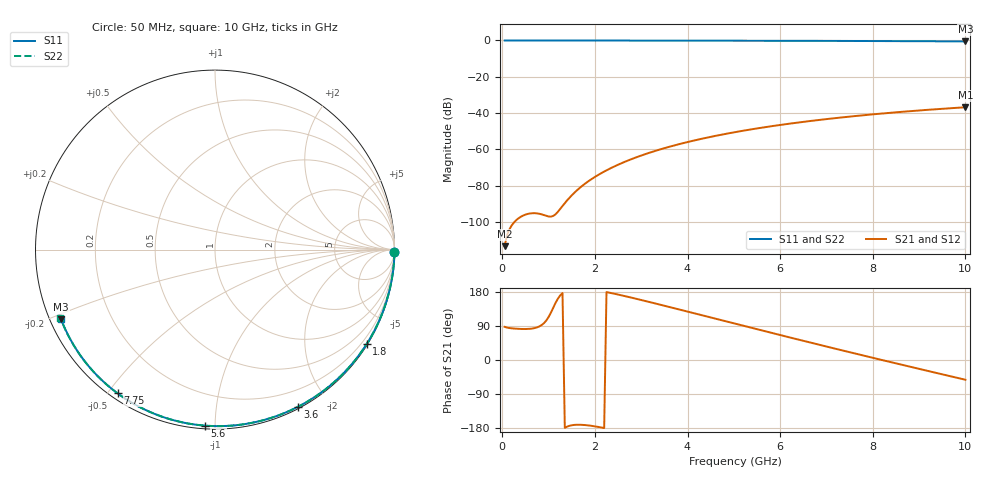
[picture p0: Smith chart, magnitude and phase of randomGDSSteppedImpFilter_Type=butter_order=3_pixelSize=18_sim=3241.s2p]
! freq	dB(S11)	phase(S11)	dB(S12)	phase(S12)
!  dB(S21)	phase(S21)	dB(S22)	phase(S22)
!S-par simulation data
#  GHz  S  DB  R 50
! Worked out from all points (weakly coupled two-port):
!   200 points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, 50 MHz to 10 GHz, reference 50 ohm
!   highest |S21| = -36.80 dB at 10 GHz (marker M1); lowest = -113.3 dB at 50 MHz (marker M2)
!   lowest |S11| = -0.5 dB at 10 GHz (marker M3), VSWR 33.12, Z = 1.58 - j10.8 ohm
!   |S11| at or under -10 dB: nowhere
!   |S22| runs from -0.5 to 0.0 dB; largest |S21 - S12| = 0
!   S11 on the Smith chart (normalised r, x): 50 MHz: open; 1.8 GHz: 0.03, -3.50; 3.6 GHz: 0.02, -1.66; 5.6 GHz: 0.02, -0.95; 7.75 GHz: 0.02, -0.53; 10 GHz: 0.03, -0.22
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0.05  -0.00 -0.9  -113.28 87.5  -113.28 87.5  -0.00 -0.9
0.45  -0.01 -8.1  -96.42 81.8  -96.42 81.8  -0.01 -8.1
0.9  -0.02 -16.1  -96.17 97.3  -96.17 97.3  -0.02 -16.2
1.7  -0.04 -30.2  -80.59 -170.9  -80.59 -170.9  -0.04 -30.3
1.75  -0.04 -31.1  -79.57 -171.3  -79.57 -171.3  -0.04 -31.2
1.8  -0.04 -31.9  -78.61 -171.8  -78.61 -171.8  -0.04 -32.0
1.95  -0.04 -34.5  -75.96 -174.1  -75.96 -174.1  -0.04 -34.7
2.1  -0.05 -37.1  -73.62 -177.2  -73.62 -177.2  -0.05 -37.2
2.3  -0.05 -40.5  -70.86 178.0  -70.86 178.0  -0.05 -40.7
2.5  -0.06 -43.9  -68.43 172.7  -68.43 172.7  -0.06 -44.1
2.9  -0.07 -50.7  -64.28 161.3  -64.28 161.3  -0.07 -50.8
3.4  -0.08 -58.9  -60.06 146.3  -60.06 146.3  -0.08 -59.1
3.6  -0.08 -62.2  -58.59 140.1  -58.59 140.1  -0.08 -62.4
4.3  -0.10 -73.4  -54.17 118.4  -54.17 118.4  -0.10 -73.6
5.05  -0.13 -85.0  -50.38 95.1  -50.38 95.1  -0.13 -85.3
5.6  -0.15 -93.2  -48.04 78.1  -48.04 78.1  -0.16 -93.6
6.15  -0.18 -101.3  -46.00 61.3  -46.00 61.3  -0.18 -101.7
6.7  -0.21 -109.3  -44.20 44.6  -44.20 44.6  -0.21 -109.7
7.75  -0.29 -124.1  -41.30 13.2  -41.30 13.2  -0.29 -124.6
8.35  -0.34 -132.5  -39.89 -4.5  -39.89 -4.5  -0.34 -133.0
9.2  -0.43 -144.3  -38.17 -29.2  -38.17 -29.2  -0.43 -144.9
10  -0.52 -155.6  -36.80 -52.1  -36.80 -52.1  -0.53 -156.2
